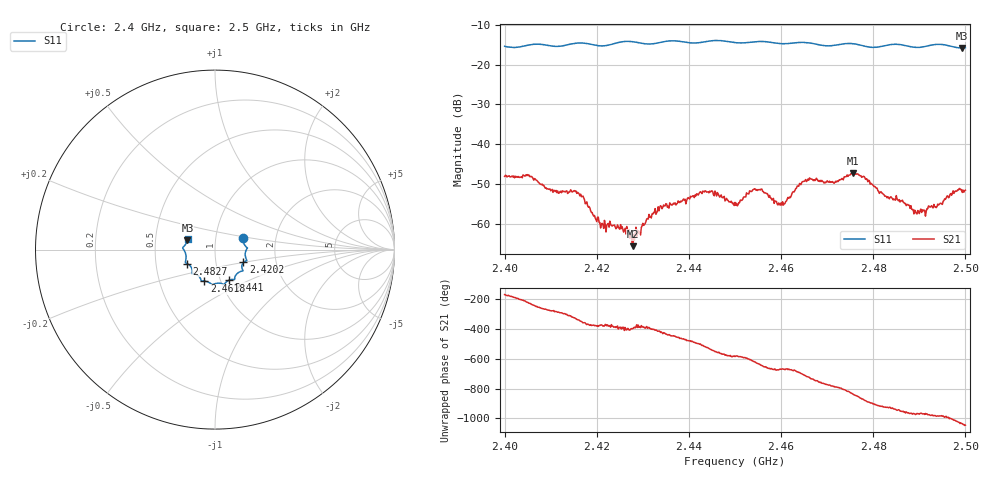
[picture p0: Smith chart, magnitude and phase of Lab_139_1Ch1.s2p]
# Hz S RI R 50
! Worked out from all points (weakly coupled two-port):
!   601 points, 2.4 GHz to 2.5 GHz, reference 50 ohm
!   highest |S21| = -47.27 dB at 2.4757 GHz (marker M1); lowest = -65.7 dB at 2.4278 GHz (marker M2)
!   lowest |S11| = -15.8 dB at 2.4993 GHz (marker M3), VSWR 1.39, Z = 36.5 + j3.85 ohm
!   |S11| at or under -10 dB: start of sweep to end of sweep
!   S12 and S22 are empty: the file has one direction only
!   S11 on the Smith chart (normalised r, x): 2.4 GHz: 1.36, +0.18; 2.4202 GHz: 1.36, -0.20; 2.441 GHz: 1.10, -0.39; 2.4618 GHz: 0.84, -0.30; 2.4827 GHz: 0.72, -0.12; 2.5 GHz: 0.73, +0.09
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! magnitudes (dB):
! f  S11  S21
! 2.4 GHz  -15.4  -48.1
! 2.4052 GHz  -15.1  -47.9
! 2.4097 GHz  -15.2  -51.4
! 2.4167 GHz  -14.5  -53.2
! 2.4202 GHz  -15.2  -58.4
! 2.4265 GHz  -14.1  -60.7
! 2.4278 GHz  -14.2  -65.7
! 2.4333 GHz  -14.5  -55.8
! 2.441 GHz  -14.6  -53.0
! 2.4447 GHz  -14.0  -52.1
! 2.45 GHz  -14.5  -54.7
! 2.4543 GHz  -14.2  -51.2
! 2.4597 GHz  -14.7  -55.2
! 2.4618 GHz  -14.6  -53.3
! 2.4667 GHz  -14.6  -48.8
! 2.4718 GHz  -15.1  -49.4
! 2.4757 GHz  -14.7  -47.3
! 2.4827 GHz  -15.2  -53.1
! 2.4833 GHz  -15.0  -53.4
! 2.491 GHz  -15.5  -56.6
! 2.4993 GHz  -15.8  -52.2
! 2.5 GHz  -15.7  -51.6
